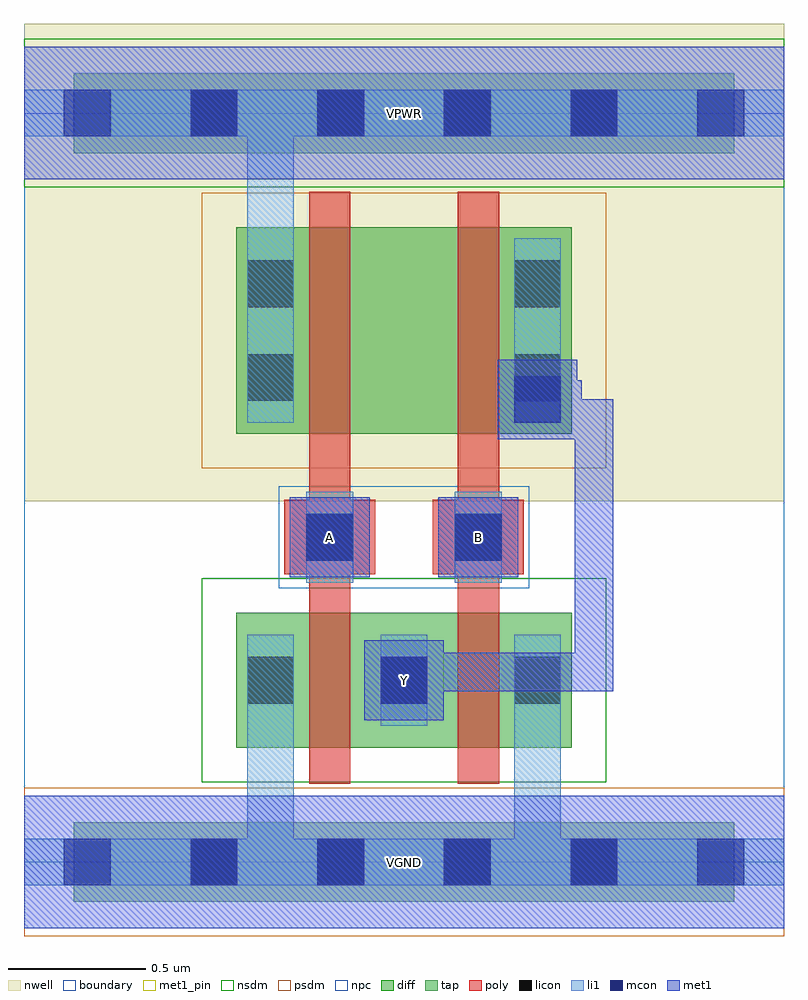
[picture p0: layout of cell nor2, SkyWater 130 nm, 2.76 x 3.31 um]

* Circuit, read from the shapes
.subckt nor2 A B VGND VPWR Y
XM1 Y A VGND VGND sky130_fd_pr__nfet_01v8 w=0.49 l=0.15
XM2 VGND B Y VGND sky130_fd_pr__nfet_01v8 w=0.49 l=0.15
XM3 n1 A VPWR VPWR sky130_fd_pr__pfet_01v8 w=0.75 l=0.15
XM4 Y B n1 VPWR sky130_fd_pr__pfet_01v8 w=0.75 l=0.15
.ends

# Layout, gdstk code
import gdstk
lib = gdstk.Library(unit=1e-6, precision=1e-09)
def R(c, l, rs):  # rectangles x0, y0, x1, y1
    for r in rs: c.add(gdstk.rectangle(r[:2], r[2:], *l))
def A(c, l, x, y, w, h, nx, ny, dx, dy):  # array of equal rectangles
    R(c, l, [(x+i*dx, y+j*dy, x+i*dx+w, y+j*dy+h) for i in range(nx) for j in range(ny)])
nwell = (64, 20)
diff = (65, 20)
tap = (65, 44)
poly = (66, 20)
licon = (66, 44)
li1 = (67, 20)
mcon = (67, 44)
met1_pin = (68, 16)
met1 = (68, 20)
nsdm = (93, 44)
psdm = (94, 20)
npc = (95, 20)
boundary = (235, 4)

nor2 = lib.new_cell('nor2')
R(nor2, nwell, [(0,1.31,2.76,3.045)])
R(nor2, diff, [(0.77,0.415,1.99,0.905), (0.77,1.555,1.99,2.305)])
R(nor2, tap, [(0.18,-0.145,2.58,0.145), (0.18,2.575,2.58,2.865)])
R(nor2, poly, [(1.035,0.285,1.185,2.435), (1.575,0.285,1.725,2.435), (0.945,1.045,1.275,1.315), (1.485,1.045,1.815,1.315)])
A(nor2, licon, 0.605, -0.085, 0.17, 0.17, 4, 2, 0.46, 2.72)
A(nor2, licon, 0.81, 0.575, 0.17, 0.17, 3, 1, 0.485, 0)
R(nor2, licon, [(1.025,1.095,1.195,1.265), (1.565,1.095,1.735,1.265), (0.81,1.675,0.98,1.845), (1.78,1.675,1.95,1.845), (0.81,2.015,0.98,2.185), (1.78,2.015,1.95,2.185)])
A(nor2, li1, 0.81, 0.495, 0.17, 0.33, 3, 1, 0.485, 0)
R(nor2, li1, [(0,-0.085,2.76,0.085), (0.81,-0.085,0.98,0.825), (1.78,-0.085,1.95,0.825), (1.025,1.015,1.195,1.345), (1.565,1.015,1.735,1.345), (0.81,1.595,0.98,2.265), (0.81,1.595,0.98,2.805), (1.78,1.595,1.95,2.265), (0,2.635,2.76,2.805)])
A(nor2, mcon, 0.145, -0.085, 0.17, 0.17, 6, 2, 0.46, 2.72)
R(nor2, mcon, [(1.295,0.575,1.465,0.745), (1.025,1.095,1.195,1.265), (1.565,1.095,1.735,1.265), (1.78,1.595,1.95,1.765)])
R(nor2, met1_pin, [(0,-0.24,2.76,0.24), (1.235,0.515,1.525,0.805), (0.965,1.035,1.255,1.325), (1.505,1.035,1.795,1.325), (0,2.48,2.76,2.96)])
R(nor2, met1, [(0,-0.24,2.76,0.24), (1.235,0.515,1.525,0.805), (1.31,0.62,1.45,0.76), (1.31,0.62,2.14,0.76), (2,0.62,2.14,1.68), (0.965,1.035,1.255,1.325), (1.505,1.035,1.795,1.325), (1.72,1.535,2.01,1.825), (1.885,1.54,2.025,1.75), (1.885,1.54,2.14,1.68), (1.795,1.61,2.025,1.75), (0,2.48,2.76,2.96)])
R(nor2, nsdm, [(0.645,0.29,2.115,1.03), (0,2.45,2.76,2.99)])
R(nor2, psdm, [(0,-0.27,2.76,0.27), (0.645,1.43,2.115,2.43)])
R(nor2, npc, [(0.925,0.995,1.835,1.365)])
R(nor2, boundary, [(0,0,2.76,2.72)])
nor2.add(gdstk.Label('A', (1.11,1.18), layer=68, texttype=5))
nor2.add(gdstk.Label('B', (1.65,1.18), layer=68, texttype=5))
nor2.add(gdstk.Label('Y', (1.38,0.66), layer=68, texttype=5))
nor2.add(gdstk.Label('VPWR', (1.38,2.72), layer=68, texttype=5))
nor2.add(gdstk.Label('VGND', (1.38,0), layer=68, texttype=5))
nor2.add(gdstk.Label('A', (1.11,1.18), layer=68, texttype=16))
nor2.add(gdstk.Label('B', (1.65,1.18), layer=68, texttype=16))
nor2.add(gdstk.Label('Y', (1.38,0.66), layer=68, texttype=16))
nor2.add(gdstk.Label('VPWR', (1.38,2.72), layer=68, texttype=16))
nor2.add(gdstk.Label('VGND', (1.38,0), layer=68, texttype=16))

lib.write_gds('nor2.gds')
